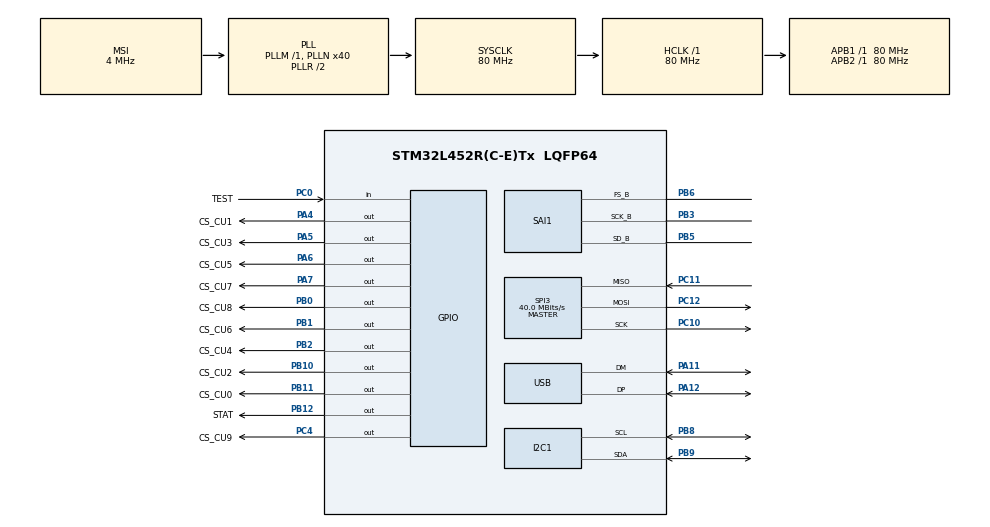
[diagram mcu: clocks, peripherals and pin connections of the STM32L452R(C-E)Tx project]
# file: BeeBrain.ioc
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Dma.Request0=SAI1_B
Dma.Request1=SPI3_RX
Dma.Request2=SPI3_TX
Dma.SAI1_B.0.Direction=DMA_PERIPH_TO_MEMORY
Dma.SAI1_B.0.Instance=DMA2_Channel7
Dma.SAI1_B.0.MemDataAlignment=DMA_MDATAALIGN_WORD
Dma.SAI1_B.0.MemInc=DMA_MINC_ENABLE
Dma.SAI1_B.0.Mode=DMA_NORMAL
Dma.SAI1_B.0.PeriphDataAlignment=DMA_PDATAALIGN_WORD
Dma.SAI1_B.0.PeriphInc=DMA_PINC_DISABLE
Dma.SAI1_B.0.Priority=DMA_PRIORITY_HIGH
Dma.SPI3_RX.1.Direction=DMA_PERIPH_TO_MEMORY
Dma.SPI3_RX.1.Instance=DMA2_Channel1
Dma.SPI3_RX.1.MemDataAlignment=DMA_MDATAALIGN_BYTE
Dma.SPI3_RX.1.MemInc=DMA_MINC_ENABLE
Dma.SPI3_RX.1.Mode=DMA_NORMAL
Dma.SPI3_RX.1.PeriphDataAlignment=DMA_PDATAALIGN_BYTE
Dma.SPI3_RX.1.PeriphInc=DMA_PINC_DISABLE
Dma.SPI3_RX.1.Priority=DMA_PRIORITY_LOW
Dma.SPI3_TX.2.Direction=DMA_MEMORY_TO_PERIPH
Dma.SPI3_TX.2.Instance=DMA2_Channel2
Dma.SPI3_TX.2.MemDataAlignment=DMA_MDATAALIGN_BYTE
Dma.SPI3_TX.2.MemInc=DMA_MINC_ENABLE
Dma.SPI3_TX.2.Mode=DMA_NORMAL
Dma.SPI3_TX.2.PeriphDataAlignment=DMA_PDATAALIGN_BYTE
Dma.SPI3_TX.2.PeriphInc=DMA_PINC_DISABLE
Dma.SPI3_TX.2.Priority=DMA_PRIORITY_LOW
I2C1.Timing=0x10909CEC
Mcu.Family=STM32L4
Mcu.Name=STM32L452R(C-E)Tx
Mcu.Package=LQFP64
NVIC.DMA2_Channel1_IRQn=true\:0\:0\:false\:false\:true\:false\:true\:true
NVIC.DMA2_Channel2_IRQn=true\:0\:0\:false\:false\:true\:false\:true\:true
NVIC.DMA2_Channel7_IRQn=true\:0\:0\:false\:false\:true\:false\:true\:true
NVIC.PriorityGroup=NVIC_PRIORITYGROUP_4
NVIC.USB_IRQn=true\:0\:0\:false\:false\:true\:false\:true\:true
PA11.Mode=Device
PA11.Signal=USB_DM
PA12.Mode=Device
PA12.Signal=USB_DP
PA13\ (JTMS/SWDIO).Mode=Serial_Wire
PA13\ (JTMS/SWDIO).Signal=SYS_JTMS-SWDIO
PA14\ (JTCK/SWCLK).Mode=Serial_Wire
PA14\ (JTCK/SWCLK).Signal=SYS_JTCK-SWCLK
PA4.GPIO_Label=CS_CU1
PA4.GPIO_PuPd=GPIO_PULLUP
PA4.Signal=GPIO_Output
PA5.GPIO_Label=CS_CU3
PA5.GPIO_PuPd=GPIO_PULLUP
PA5.Signal=GPIO_Output
PA6.GPIO_Label=CS_CU5
PA6.GPIO_PuPd=GPIO_PULLUP
PA6.Signal=GPIO_Output
PA7.GPIO_Label=CS_CU7
PA7.GPIO_PuPd=GPIO_PULLUP
PA7.Signal=GPIO_Output
PB0.GPIO_Label=CS_CU8
PB0.GPIO_PuPd=GPIO_PULLUP
PB0.Signal=GPIO_Output
PB1.GPIO_Label=CS_CU6
PB1.GPIO_PuPd=GPIO_PULLUP
PB1.Signal=GPIO_Output
PB10.GPIO_Label=CS_CU2
PB10.GPIO_PuPd=GPIO_PULLUP
PB10.Signal=GPIO_Output
PB11.GPIO_Label=CS_CU0
PB11.GPIO_PuPd=GPIO_PULLUP
PB11.Signal=GPIO_Output
PB12.GPIO_Label=STAT
PB12.GPIO_PuPd=GPIO_PULLUP
PB12.Signal=GPIO_Output
PB2.GPIO_Label=CS_CU4
PB2.GPIO_PuPd=GPIO_PULLUP
PB2.Signal=GPIO_Output
PB3\ (JTDO/TRACESWO).Mode=SAI_B_Master
PB3\ (JTDO/TRACESWO).Signal=SAI1_SCK_B
PB5.Mode=SAI_B_Master
PB5.Signal=SAI1_SD_B
PB6.Mode=SAI_B_Master
PB6.Signal=SAI1_FS_B
PB8.Mode=I2C
PB8.Signal=I2C1_SCL
PB9.Mode=I2C
PB9.Signal=I2C1_SDA
PC0.GPIO_Label=TEST
PC0.Signal=GPIO_Input
PC10.Mode=Full_Duplex_Master
PC10.Signal=SPI3_SCK
PC11.Mode=Full_Duplex_Master
PC11.Signal=SPI3_MISO
PC12.Mode=Full_Duplex_Master
PC12.Signal=SPI3_MOSI
PC4.GPIO_Label=CS_CU9
PC4.GPIO_PuPd=GPIO_PULLUP
PC4.Signal=GPIO_Output
ProjectManager.HeapSize=0x200
ProjectManager.StackSize=0x400
ProjectManager.TargetToolchain=STM32CubeIDE
RCC.ADCFreq_Value=48000000
RCC.AHBFreq_Value=80000000
RCC.APB1Freq_Value=80000000
RCC.APB1TimFreq_Value=80000000
RCC.APB2Freq_Value=80000000
RCC.APB2TimFreq_Value=80000000
RCC.CortexFreq_Value=80000000
RCC.HCLKFreq_Value=80000000
RCC.HSE_VALUE=8000000
RCC.HSI48_VALUE=48000000
RCC.HSI_VALUE=16000000
RCC.LSE_VALUE=32768
RCC.MSI_VALUE=4000000
RCC.PLLN=40
RCC.PLLSAI1N=24
RCC.PLLSAI1P=RCC_PLLP_DIV2
RCC.SYSCLKFreq_VALUE=80000000
RCC.SYSCLKSource=RCC_SYSCLKSOURCE_PLLCLK
RCC.USBFreq_Value=48000000
RCC.VCOOutputFreq_Value=160000000
SAI1.AudioFrequency-SAI_B_Master=SAI_AUDIO_FREQUENCY_96K
SAI1.AudioMode-SAI_B_Master=SAI_MODEMASTER_RX
SAI1.BasicDataSize-SAI_B_Master=SAI_PROTOCOL_DATASIZE_24BIT
SAI1.BasicSlotNumber-SAI_B_Master=2
SAI1.ErrorAudioFreq-SAI_B_Master=-2.34 %
SAI1.InitProtocol-SAI_B_Master=Enable
SAI1.Instance-SAI_B_Master=SAI$Index_Block_B
SAI1.MClockEnable-SAI_B_Master=SAI_MASTERCLOCK_DISABLE
SAI1.MonoStereoMode-SAI_B_Master=SAI_STEREOMODE
SAI1.NoDivider-SAI_B_Master=SAI_MASTERDIVIDER_ENABLE
SAI1.OutputDrive-SAI_B_Master=SAI_OUTPUTDRIVE_DISABLE
SAI1.RealAudioFreq-SAI_B_Master=93.75 KHz
SAI1.VirtualMode-SAI_B_Master=VM_MASTER
SAI1.VirtualProtocol-SAI_B_BASIC=VM_BASIC_PROTOCOL
SPI3.CalculateBaudRate=40.0 MBits/s
SPI3.DataSize=SPI_DATASIZE_8BIT
SPI3.Direction=SPI_DIRECTION_2LINES
SPI3.Mode=SPI_MODE_MASTER
SPI3.VirtualType=VM_MASTER
STMicroelectronics.X-CUBE-ALGOBUILD.1.3.0.LibraryCcDSPOoLibraryJjDSPOoLibrary=true
USB.battery_charging_enable=ENABLE
USB.low_power_enable=ENABLE
USB.lpm_enable=ENABLE
USB_DEVICE.APP_RX_DATA_SIZE=256
USB_DEVICE.CLASS_NAME_FS=CDC
USB_DEVICE.PID_CDC_FS=22336
USB_DEVICE.VirtualMode=Cdc
USB_DEVICE.VirtualModeFS=Cdc_FS
VP_CRC_VS_CRC.Mode=CRC_Activate
VP_SAI1_VP_$IpInstance_SAIB_SAI_BASIC.Mode=SAI_B_BASIC
VP_STMicroelectronics.X-CUBE-ALGOBUILD_VS_DSPOoLibraryJjLibrary_1.3.0_1.3.0.Mode=DSPOoLibraryJjLibrary
VP_USB_DEVICE_VS_USB_DEVICE_CDC_FS.Mode=CDC_FS
board=custom

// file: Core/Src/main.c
/* USER CODE BEGIN Header */
/**
  ******************************************************************************
  * @file           : main.c
  * @brief          : Main program body
  ******************************************************************************
  * @attention
  *
  * Copyright (c) 2024 STMicroelectronics.
  * All rights reserved.
  *
  * This software is licensed under terms that can be found in the LICENSE file
  * in the root directory of this software component.
  * If no LICENSE file comes with this software, it is provided AS-IS.
  *
  ******************************************************************************
  */
/* USER CODE END Header */
#include "main.h"
#include "crc.h"
#include "dma.h"
#include "i2c.h"
#include "sai.h"
#include "spi.h"
#include "usb_device.h"
#include "gpio.h"

/* USER CODE BEGIN Includes */

#include "usbd_cdc_if.h"
#include "scd4x_i2c.h"
/* USER CODE END Includes */

/* USER CODE BEGIN PV */
uint8_t USB_Flag;
uint8_t USB_Command;

/** Received data over USB are stored in this buffer      */
uint8_t UserRxBufferFS[APP_RX_DATA_SIZE];

/** Data to send over USB CDC are stored in this buffer   */
uint8_t UserTxBufferFS[APP_TX_DATA_SIZE];
uint16_t UserTxBufferFS_pointer;

/*Response arrays variables*/
int8_t SCD_data[16];
int8_t BRAIN_response[4];

int32_t data_sai[WAV_WRITE_SAMPLE_COUNT];
int32_t data_mic_left[WAV_WRITE_SAMPLE_COUNT/2];
int32_t data_mic_right[WAV_WRITE_SAMPLE_COUNT/2];

volatile int16_t sample_sai;
arm_rfft_fast_instance_f32 fft_audio_instance;
volatile uint8_t  half_sai, full_sai;

 CUPREXIT_Command active_command;
CUPREXIT_Device *active_device;

CUPREXIT_Device CU_devices[NMBR_CU];

int8_t SPIRxBuffer[64];
int8_t SPITxBuffer[64];

uint8_t timestamp[8];
/* USER CODE END PV */

void SystemClock_Config(void);
void PeriphCommonClock_Config(void);

int main(void)
{

  /* MCU Configuration--------------------------------------------------------*/

  /* Reset of all peripherals, Initializes the Flash interface and the Systick. */
  HAL_Init();

  /* Configure the system clock */
  SystemClock_Config();

/* Configure the peripherals common clocks */
  PeriphCommonClock_Config();

  /* Initialize all configured peripherals */
  MX_GPIO_Init();
  MX_DMA_Init();
  MX_I2C1_Init();
  MX_SAI1_Init();
  MX_SPI3_Init();
  MX_USB_DEVICE_Init();
  MX_CRC_Init();
  /* USER CODE BEGIN 2 */
  int i = 0;
  CUPREXIT_InitDevice(&CU_devices[0], &hspi3, i++, CS_CU0_Pin, CS_CU0_GPIO_Port);
  CUPREXIT_InitDevice(&CU_devices[1], &hspi3, i++, CS_CU1_Pin, CS_CU1_GPIO_Port);
  CUPREXIT_InitDevice(&CU_devices[2], &hspi3, i++, CS_CU2_Pin, CS_CU2_GPIO_Port);
  CUPREXIT_InitDevice(&CU_devices[3], &hspi3, i++, CS_CU3_Pin, CS_CU3_GPIO_Port);
  CUPREXIT_InitDevice(&CU_devices[4], &hspi3, i++, CS_CU4_Pin, CS_CU4_GPIO_Port);
  CUPREXIT_InitDevice(&CU_devices[5], &hspi3, i++, CS_CU5_Pin, CS_CU5_GPIO_Port);
  CUPREXIT_InitDevice(&CU_devices[6], &hspi3, i++, CS_CU6_Pin, CS_CU6_GPIO_Port);
  CUPREXIT_InitDevice(&CU_devices[7], &hspi3, i++, CS_CU7_Pin, CS_CU7_GPIO_Port);
  CUPREXIT_InitDevice(&CU_devices[8], &hspi3, i++, CS_CU8_Pin, CS_CU8_GPIO_Port);
  CUPREXIT_InitDevice(&CU_devices[9], &hspi3, i++, CS_CU9_Pin, CS_CU9_GPIO_Port);

  CDC_Transmit_FS((uint8_t *)BeeBrain_STATE_FFT_READY , 1);

  /* USER CODE END 2 */

  /* Infinite loop */
  /* USER CODE BEGIN WHILE */
  while (1)
  {
    if (USB_Flag == 1){
      	USB_Flag = 0;
        USB_Command = UserRxBufferFS[0];
        addSignatureUSBBuffer();
        addDataToUSBBuffer(UserRxBufferFS, 9, 0);
      	switch(USB_Command){
        case USB_COMMAND_RESET:
            sendUSBMasssage();
            resetDevice();
            break;
      	case USB_COMMAND_PING:
            addDataToUSBBuffer((int8_t*)USB_COMMAND_PING, 1, 0);
            break;
        case USB_COMMAND_GET_AUDIO:
            addDataToUSBBuffer((int8_t*)USB_COMMAND_GET_AUDIO, 1, 0);
            Meas_Audio();
            continue;
            break;
        case USB_COMMAND_CLIMA:
            addDataToUSBBuffer((int8_t*)USB_COMMAND_CLIMA, 1,0);
            scd4x_wake_up(  );
            uint32_t SCD_data[3];
            scd4x_read_measurement(&SCD_data[0], &SCD_data[1], &SCD_data[2]);
            scd4x_power_down();
            addDataToUSBBuffer((int8_t*)SCD_data, 3*sizeof(uint32_t), SCD_DATA);
            break;
        case USB_COMMAND_CONF:
            uint16_t scd_serial[3], altitude;
            uint32_t tempoffset;
            scd4x_get_serial_number(&scd_serial[0], &scd_serial[1], &scd_serial[2]);
            scd4x_get_temperature_offset(&tempoffset);
            scd4x_get_sensor_altitude(&altitude);
            addDataToUSBBuffer((int8_t*)scd_serial, sizeof(scd_serial), SCD_DATA);
            addDataToUSBBuffer((int8_t*)&tempoffset, sizeof(tempoffset), 0);
            addDataToUSBBuffer((int8_t*)&altitude, sizeof(altitude), 0);
            addDataToUSBBuffer(NULL, 1, CUx_DATA);
            for (int i = 0; i < NMBR_CU; i++) {
                addDataToUSBBuffer((int8_t*)&CU_devices[i].User_ID, sizeof(CU_devices[i].User_ID), 0);
                addDataToUSBBuffer((int8_t*)&CU_devices[i].Device_UID, sizeof(CU_devices[i].Device_UID), 0);
                handleCUPCommand(CUPREXIT_COMMAND_GET_CALIB);
            }
            break;

        case USB_COMMAND_GET_CU_CALIB:
            handleCUPCommand(CUPREXIT_COMMAND_GET_CALIB);
            break;
        case USB_COMMAND_SET_CU_CALIB:
            handleCUPCommand(CUPREXIT_COMMAND_SET_CALIB);
            break;
        case USB_COMMAND_GET_CU_TEMP:
            handleCUPCommand(CUPREXIT_COMMAND_MEAS);

            break;

        case USB_COMMAND_SCD_GET_MEAS:
            scd4x_wake_up();
            #if 0
            /*todo: set ambient pressure for comensation*/
            scd4x_set_ambient_pressure(1013);
            #endif
            scd4x_read_measurement(&SCD_data[0], &SCD_data[1], &SCD_data[2]);
            addDataToUSBBuffer((int8_t*)SCD_data, 3, SCD_DATA);
            scd4x_power_down();
            break;
        case USB_COMMAND_SCD_STATUS:
            uint16_t Stat[5];
            addDataToUSBBuffer((int8_t *) USB_COMMAND_SCD_STATUS, 1, 0);
            scd4x_wake_up();
            scd4x_get_temperature_offset(&Stat[0]);
            scd4x_get_sensor_altitude(&Stat[1]);
            scd4x_get_serial_number(&Stat[2], &Stat[3], &Stat[4]);
            addDataToUSBBuffer(Stat, 5, SCD_DATA);
            scd4x_power_down();
            break;
        case USB_COMMAND_SCD_CALIB:
            addDataToUSBBuffer((int8_t*)USB_COMMAND_SCD_CALIB, 1,0);
            scd4x_wake_up(  );
            addDataToUSBBuffer(scd4x_set_temperature_offset(0),2,0);
            addDataToUSBBuffer(scd4x_set_sensor_altitude(0),2,0);
            scd4x_power_down();
            break;
        case USB_COMMAND_SCD_FORCE_CALIB:
            scd4x_wake_up();
            scd4x_start_periodic_measurement();
            HAL_Delay(4*60*1000);
            scd4x_stop_periodic_measurement();
            HAL_Delay(500);
            /*scd4x_perform_forced_recalibration(400, &frc_correction);*/
            scd4x_power_down();
            break;
        default:
            break;
      }
      addDataToUSBBuffer(BeeBrain_STATE_END, 1, 0);
      sendUSBMasssage();
    }
    /* USER CODE END WHILE */

  }
}

void SystemClock_Config(void)
{
  RCC_OscInitTypeDef RCC_OscInitStruct = {0};
  RCC_ClkInitTypeDef RCC_ClkInitStruct = {0};

  /** Configure the main internal regulator output voltage
  */
  if (HAL_PWREx_ControlVoltageScaling(PWR_REGULATOR_VOLTAGE_SCALE1) != HAL_OK)
  {
    Error_Handler();
  }

  /** Initializes the RCC Oscillators according to the specified parameters
  * in the RCC_OscInitTypeDef structure.
  */
  RCC_OscInitStruct.OscillatorType = RCC_OSCILLATORTYPE_MSI;
  RCC_OscInitStruct.MSIState = RCC_MSI_ON;
  RCC_OscInitStruct.MSICalibrationValue = 0;
  RCC_OscInitStruct.MSIClockRange = RCC_MSIRANGE_6;
  RCC_OscInitStruct.PLL.PLLState = RCC_PLL_ON;
  RCC_OscInitStruct.PLL.PLLSource = RCC_PLLSOURCE_MSI;
  RCC_OscInitStruct.PLL.PLLM = 1;
  RCC_OscInitStruct.PLL.PLLN = 40;
  RCC_OscInitStruct.PLL.PLLP = RCC_PLLP_DIV7;
  RCC_OscInitStruct.PLL.PLLQ = RCC_PLLQ_DIV2;
  RCC_OscInitStruct.PLL.PLLR = RCC_PLLR_DIV2;
  if (HAL_RCC_OscConfig(&RCC_OscInitStruct) != HAL_OK)
  {
    Error_Handler();
  }

  /** Initializes the CPU, AHB and APB buses clocks
  */
  RCC_ClkInitStruct.ClockType = RCC_CLOCKTYPE_HCLK|RCC_CLOCKTYPE_SYSCLK
                              |RCC_CLOCKTYPE_PCLK1|RCC_CLOCKTYPE_PCLK2;
  RCC_ClkInitStruct.SYSCLKSource = RCC_SYSCLKSOURCE_PLLCLK;
  RCC_ClkInitStruct.AHBCLKDivider = RCC_SYSCLK_DIV1;
  RCC_ClkInitStruct.APB1CLKDivider = RCC_HCLK_DIV1;
  RCC_ClkInitStruct.APB2CLKDivider = RCC_HCLK_DIV1;

  if (HAL_RCC_ClockConfig(&RCC_ClkInitStruct, FLASH_LATENCY_4) != HAL_OK)
  {
    Error_Handler();
  }
}

void PeriphCommonClock_Config(void)
{
  RCC_PeriphCLKInitTypeDef PeriphClkInit = {0};

  /** Initializes the peripherals clock
  */
  PeriphClkInit.PeriphClockSelection = RCC_PERIPHCLK_SAI1|RCC_PERIPHCLK_USB;
  PeriphClkInit.Sai1ClockSelection = RCC_SAI1CLKSOURCE_PLLSAI1;
  PeriphClkInit.UsbClockSelection = RCC_USBCLKSOURCE_PLLSAI1;
  PeriphClkInit.PLLSAI1.PLLSAI1Source = RCC_PLLSOURCE_MSI;
  PeriphClkInit.PLLSAI1.PLLSAI1M = 1;
  PeriphClkInit.PLLSAI1.PLLSAI1N = 24;
  PeriphClkInit.PLLSAI1.PLLSAI1P = RCC_PLLP_DIV2;
  PeriphClkInit.PLLSAI1.PLLSAI1Q = RCC_PLLQ_DIV2;
  PeriphClkInit.PLLSAI1.PLLSAI1R = RCC_PLLR_DIV2;
  PeriphClkInit.PLLSAI1.PLLSAI1ClockOut = RCC_PLLSAI1_SAI1CLK|RCC_PLLSAI1_48M2CLK;
  if (HAL_RCCEx_PeriphCLKConfig(&PeriphClkInit) != HAL_OK)
  {
    Error_Handler();
  }
}

/* USER CODE BEGIN 4 */

void processReceivedData(uint8_t *data) {
    int8_t size=2;
    switch (data[0]) {
      case USB_COMMAND_PING:
          size++;
          break;
      case USB_COMMAND_GET_CU_CALIB: /*recieve actual calib data*/
      case USB_COMMAND_SET_CU_CALIB: /*recieve old calib data*/
      case USB_COMMAND_GET_CU_TEMP: /*recieve actual temp data*/
          size = size + NMBR_CU_TEMP*4;
          break;
      case USB_COMMAND_CU_STATUS:
          size = 64;
    }
    // Přidání dat do bufferu
    addDataToUSBBuffer(data, size, CUx_DATA);
}

void resetDevice() {
  /*todo reset cuprexits*/
  HAL_NVIC_SystemReset();
}

/* USER CODE END 4 */

void Error_Handler(void)
{
  __disable_irq();
  while (1)
  {
  }
}
